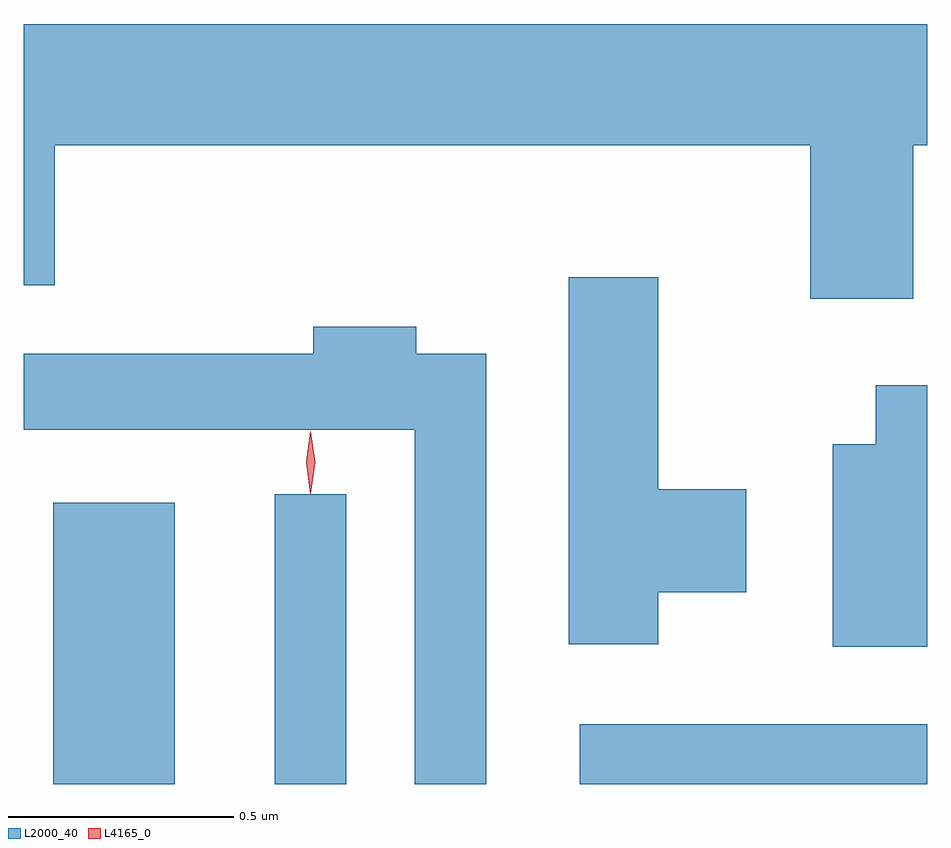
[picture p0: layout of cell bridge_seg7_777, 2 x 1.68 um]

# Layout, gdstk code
import gdstk
lib = gdstk.Library(unit=1e-6, precision=1e-09)
def R(c, l, rs):  # rectangles x0, y0, x1, y1
    for r in rs: c.add(gdstk.rectangle(r[:2], r[2:], *l))
def P(c, l, *ps):  # polygons
    for p in ps: c.add(gdstk.Polygon(p, *l))
L2000_40 = (2000, 40)
L4165_0 = (4165, 0)

bridge_seg7_777 = lib.new_cell('bridge_seg7_777')
R(bridge_seg7_777, L2000_40, [(509.046,1763.962,509.314,1764.584), (509.536,1763.962,509.694,1764.603), (510.211,1763.962,510.98,1764.094)])
P(bridge_seg7_777, L2000_40, [(510.949,1765.376),(510.98,1765.376),(510.98,1765.644),(508.98,1765.644),(508.98,1765.066),(509.049,1765.066),(509.049,1765.376),(510.721,1765.376),(510.721,1765.036),(510.949,1765.036)],
  [(510.384,1764.386),(510.579,1764.386),(510.579,1764.614),(510.384,1764.614),(510.384,1765.084),(510.186,1765.084),(510.186,1764.271),(510.384,1764.271)],
  [(510.004,1764.914),(509.849,1764.914),(509.849,1764.974),(509.621,1764.974),(509.621,1764.914),(508.98,1764.914),(508.98,1764.746),(509.846,1764.746),(509.846,1763.962),(510.004,1763.962)],
  [(510.98,1764.844),(510.866,1764.844),(510.866,1764.714),(510.771,1764.714),(510.771,1764.266),(510.98,1764.266)])
P(bridge_seg7_777, L4165_0, [(509.614,1764.607),(509.605,1764.674),(509.614,1764.74),(509.615,1764.741),(509.615,1764.74),(509.625,1764.674),(509.615,1764.607),(509.615,1764.607)],
  [(509.614,1764.604),(509.605,1764.674),(509.614,1764.742),(509.615,1764.743),(509.615,1764.742),(509.625,1764.674),(509.615,1764.604),(509.615,1764.604)])

lib.write_gds('bridge_seg7_777.gds')
